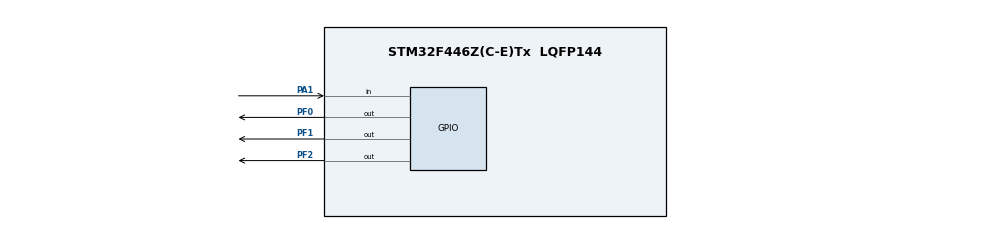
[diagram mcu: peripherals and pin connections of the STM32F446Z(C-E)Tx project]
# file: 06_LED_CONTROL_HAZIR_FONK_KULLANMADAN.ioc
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FREERTOS.Tasks01=defaultTask,24,128,StartDefaultTask,Default,NULL,Dynamic,NULL,NULL;myTask02,8,128,StartTask02,Default,NULL,Dynamic,NULL,NULL;myTask03,8,128,StartTask03,Default,NULL,Dynamic,NULL,NULL
Mcu.Family=STM32F4
Mcu.Name=STM32F446Z(C-E)Tx
Mcu.Package=LQFP144
NVIC.PriorityGroup=NVIC_PRIORITYGROUP_4
NVIC.TIM1_UP_TIM10_IRQn=true\:15\:0\:false\:false\:true\:false\:false\:true\:true
NVIC.TimeBase=TIM1_UP_TIM10_IRQn
NVIC.TimeBaseIP=TIM1
PA1.Signal=GPIO_Input
PA13.Mode=Serial_Wire
PA13.Signal=SYS_JTMS-SWDIO
PA14.Mode=Serial_Wire
PA14.Signal=SYS_JTCK-SWCLK
PF0.Signal=GPIO_Output
PF1.Signal=GPIO_Output
PF2.Signal=GPIO_Output
ProjectManager.HeapSize=0x200
ProjectManager.StackSize=0x400
ProjectManager.TargetToolchain=STM32CubeIDE
RCC.CortexFreq_Value=16000000
RCC.USBFreq_Value=96000000
RCC.VCOOutputFreq_Value=192000000
VP_FREERTOS_VS_CMSIS_V2.Mode=CMSIS_V2
VP_SYS_VS_tim1.Mode=TIM1
board=custom

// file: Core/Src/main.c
/* USER CODE BEGIN Header */
/**
  ******************************************************************************
  * @file           : main.c
  * @brief          : Main program body
  ******************************************************************************
  * @attention
  *
  * Copyright (c) 2024 STMicroelectronics.
  * All rights reserved.
  *
  * This software is licensed under terms that can be found in the LICENSE file
  * in the root directory of this software component.
  * If no LICENSE file comes with this software, it is provided AS-IS.
  *
  ******************************************************************************
  */
/* USER CODE END Header */
#include "main.h"
#include "cmsis_os.h"

/* USER CODE BEGIN Includes */
#include "FreeRTOS.h"
#include "task.h"
/* USER CODE END Includes */

/* Definitions for defaultTask */
osThreadId_t defaultTaskHandle;
const osThreadAttr_t defaultTask_attributes = {
  .name = "defaultTask",
  .stack_size = 128 * 4,
  .priority = (osPriority_t) osPriorityNormal,
};
/* Definitions for myTask02 */
osThreadId_t myTask02Handle;
const osThreadAttr_t myTask02_attributes = {
  .name = "myTask02",
  .stack_size = 128 * 4,
  .priority = (osPriority_t) osPriorityLow,
};
/* Definitions for myTask03 */
osThreadId_t myTask03Handle;
const osThreadAttr_t myTask03_attributes = {
  .name = "myTask03",
  .stack_size = 128 * 4,
  .priority = (osPriority_t) osPriorityLow,
};
/* USER CODE BEGIN PV */
TaskHandle_t myLedTaskHandle;

uint8_t buttoncount = 0;
/* USER CODE END PV */

void SystemClock_Config(void);
static void MX_GPIO_Init(void);
void ledFlashTask(void *argument);
void StartTask02(void *argument);
void StartTask03(void *argument);

int main(void)
{

  /* MCU Configuration--------------------------------------------------------*/

  /* Reset of all peripherals, Initializes the Flash interface and the Systick. */
  HAL_Init();

  /* Configure the system clock */
  SystemClock_Config();

  /* Initialize all configured peripherals */
  MX_GPIO_Init();

  /* Init scheduler */
  osKernelInitialize();

  /* Create the thread(s) */
  /* creation of defaultTask */
//  defaultTaskHandle = osThreadNew(StartDefaultTask, NULL, &defaultTask_attributes);
  xTaskCreate(ledFlashTask, "Led Control Görevi", 128, NULL, 2, &myLedTaskHandle);
  /* creation of myTask02 */
  myTask02Handle = osThreadNew(StartTask02, NULL, &myTask02_attributes);

  /* creation of myTask03 */
  myTask03Handle = osThreadNew(StartTask03, NULL, &myTask03_attributes);

  /* Start scheduler */
//  osKernelStart();
    vTaskStartScheduler();
  /* We should never get here as control is now taken by the scheduler */
  /* Infinite loop */
  while (1)
  {

  }
}

void SystemClock_Config(void)
{
  RCC_OscInitTypeDef RCC_OscInitStruct = {0};
  RCC_ClkInitTypeDef RCC_ClkInitStruct = {0};

  /** Configure the main internal regulator output voltage
  */
  __HAL_RCC_PWR_CLK_ENABLE();
  __HAL_PWR_VOLTAGESCALING_CONFIG(PWR_REGULATOR_VOLTAGE_SCALE3);

  /** Initializes the RCC Oscillators according to the specified parameters
  * in the RCC_OscInitTypeDef structure.
  */
  RCC_OscInitStruct.OscillatorType = RCC_OSCILLATORTYPE_HSI;
  RCC_OscInitStruct.HSIState = RCC_HSI_ON;
  RCC_OscInitStruct.HSICalibrationValue = RCC_HSICALIBRATION_DEFAULT;
  RCC_OscInitStruct.PLL.PLLState = RCC_PLL_NONE;
  if (HAL_RCC_OscConfig(&RCC_OscInitStruct) != HAL_OK)
  {
    Error_Handler();
  }

  /** Initializes the CPU, AHB and APB buses clocks
  */
  RCC_ClkInitStruct.ClockType = RCC_CLOCKTYPE_HCLK|RCC_CLOCKTYPE_SYSCLK
                              |RCC_CLOCKTYPE_PCLK1|RCC_CLOCKTYPE_PCLK2;
  RCC_ClkInitStruct.SYSCLKSource = RCC_SYSCLKSOURCE_HSI;
  RCC_ClkInitStruct.AHBCLKDivider = RCC_SYSCLK_DIV1;
  RCC_ClkInitStruct.APB1CLKDivider = RCC_HCLK_DIV1;
  RCC_ClkInitStruct.APB2CLKDivider = RCC_HCLK_DIV1;

  if (HAL_RCC_ClockConfig(&RCC_ClkInitStruct, FLASH_LATENCY_0) != HAL_OK)
  {
    Error_Handler();
  }
}

static void MX_GPIO_Init(void)
{
  GPIO_InitTypeDef GPIO_InitStruct = {0};

  /* GPIO Ports Clock Enable */
  __HAL_RCC_GPIOF_CLK_ENABLE();
  __HAL_RCC_GPIOA_CLK_ENABLE();

  /*Configure GPIO pin Output Level */
  HAL_GPIO_WritePin(GPIOF, GPIO_PIN_0|GPIO_PIN_1|GPIO_PIN_2, GPIO_PIN_RESET);

  /*Configure GPIO pins : PF0 PF1 PF2 */
  GPIO_InitStruct.Pin = GPIO_PIN_0|GPIO_PIN_1|GPIO_PIN_2;
  GPIO_InitStruct.Mode = GPIO_MODE_OUTPUT_PP;
  GPIO_InitStruct.Pull = GPIO_NOPULL;
  GPIO_InitStruct.Speed = GPIO_SPEED_FREQ_LOW;
  HAL_GPIO_Init(GPIOF, &GPIO_InitStruct);

  /*Configure GPIO pin : PA1 */
  GPIO_InitStruct.Pin = GPIO_PIN_1;
  GPIO_InitStruct.Mode = GPIO_MODE_INPUT;
  GPIO_InitStruct.Pull = GPIO_NOPULL;
  HAL_GPIO_Init(GPIOA, &GPIO_InitStruct);

}

void ledFlashTask(void *argument)
{
  /* USER CODE BEGIN 5 */
  /* Infinite loop */
  for(;;)
  {
	  if(buttoncount == 0)
	  {
		  HAL_GPIO_WritePin(GPIOF, GPIO_PIN_0 | GPIO_PIN_1 |GPIO_PIN_2, GPIO_PIN_SET);
	  }
	  else if(buttoncount == 1)
	  {
	  HAL_GPIO_TogglePin(GPIOF, GPIO_PIN_0 | GPIO_PIN_1 |GPIO_PIN_2);
	  vTaskDelay(1000);
	  }
	  else if(buttoncount == 2)
	  {
	  HAL_GPIO_TogglePin(GPIOF, GPIO_PIN_0 | GPIO_PIN_1 |GPIO_PIN_2);
	  vTaskDelay(500);
	  }
	  else if(buttoncount == 3)
	  {
	  HAL_GPIO_TogglePin(GPIOF, GPIO_PIN_0 | GPIO_PIN_1 |GPIO_PIN_2);
	  vTaskDelay(200);
	  }
	  else if(buttoncount == 4)
	  {
	  HAL_GPIO_TogglePin(GPIOF, GPIO_PIN_0 | GPIO_PIN_1 |GPIO_PIN_2);
	  vTaskDelay(75);
	  }
    osDelay(1);
  }
  /* USER CODE END 5 */
}

void StartTask02(void *argument)
{
  /* USER CODE BEGIN StartTask02 */
  /* Infinite loop */
  for(;;)
  {
	  if(HAL_GPIO_ReadPin(GPIOA, GPIO_PIN_1)==GPIO_PIN_SET)
	  {
		  buttoncount++;
		  vTaskDelay(50);
		  if(buttoncount == 5)
			  buttoncount = 0;

	  }

    osDelay(1);
  }
  /* USER CODE END StartTask02 */
}

void StartTask03(void *argument)
{
  for(;;)
  {
    osDelay(1);
  }
}

void HAL_TIM_PeriodElapsedCallback(TIM_HandleTypeDef *htim)
{
  if (htim->Instance == TIM1) {
    HAL_IncTick();
  }
}

void Error_Handler(void)
{
  __disable_irq();
  while (1)
  {
  }
}
